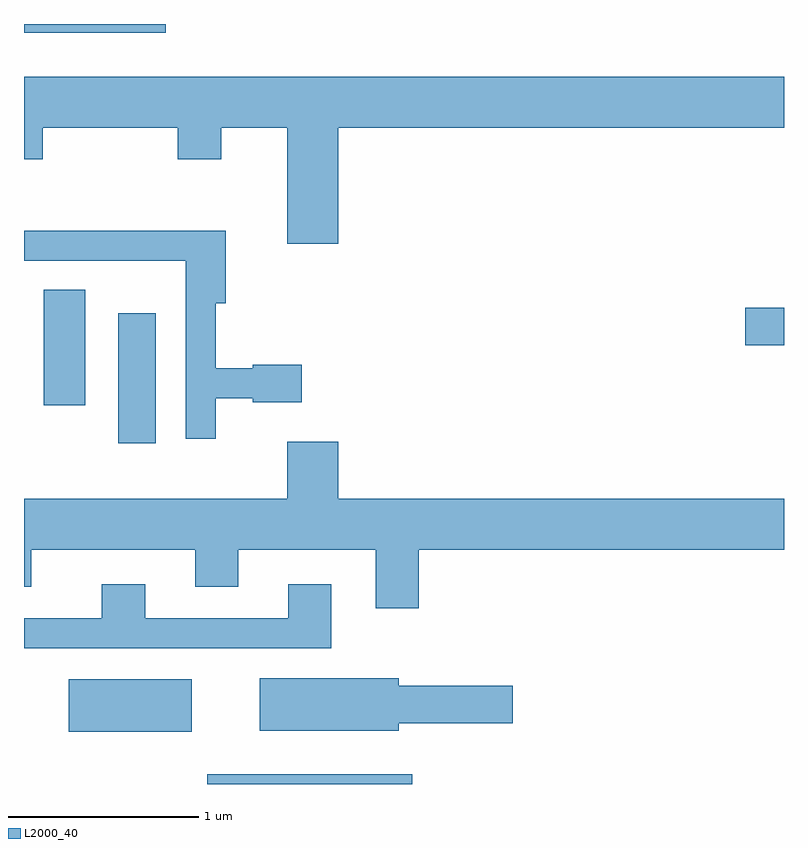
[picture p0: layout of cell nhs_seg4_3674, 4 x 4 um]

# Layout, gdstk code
import gdstk
lib = gdstk.Library(unit=1e-6, precision=1e-09)
def R(c, l, rs):  # rectangles x0, y0, x1, y1
    for r in rs: c.add(gdstk.rectangle(r[:2], r[2:], *l))
def P(c, l, *ps):  # polygons
    for p in ps: c.add(gdstk.Polygon(p, *l))
L2000_40 = (2000, 40)

nhs_seg4_3674 = lib.new_cell('nhs_seg4_3674')
R(nhs_seg4_3674, L2000_40, [(294.576,1257.982,295.654,1258.034), (293.846,1258.256,294.494,1258.534), (294.106,1259.776,294.304,1260.459), (293.716,1259.976,293.934,1260.584), (297.406,1260.291,297.611,1260.489), (293.611,1261.936,294.358,1261.982)])
P(nhs_seg4_3674, L2000_40, [(295.264,1261.436),(297.611,1261.436),(297.611,1261.704),(293.611,1261.704),(293.611,1261.271),(293.709,1261.271),(293.709,1261.436),(294.421,1261.436),(294.421,1261.271),(294.649,1261.271),(294.649,1261.436),(294.996,1261.436),(294.996,1260.826),(295.264,1260.826)],
  [(294.619,1260.011),(294.816,1260.011),(294.816,1259.991),(295.074,1259.991),(295.074,1260.189),(294.816,1260.189),(294.816,1260.169),(294.619,1260.169),(294.619,1260.511),(294.674,1260.511),(294.674,1260.894),(293.611,1260.894),(293.611,1260.736),(294.461,1260.736),(294.461,1259.798),(294.619,1259.798)],
  [(295.689,1259.216),(297.611,1259.216),(297.611,1259.484),(295.264,1259.484),(295.264,1259.784),(294.996,1259.784),(294.996,1259.484),(293.611,1259.484),(293.611,1259.021),(293.649,1259.021),(293.649,1259.216),(294.511,1259.216),(294.511,1259.021),(294.739,1259.021),(294.739,1259.216),(295.461,1259.216),(295.461,1258.906),(295.689,1258.906)],
  [(295.229,1259.034),(295.001,1259.034),(295.001,1258.854),(294.249,1258.854),(294.249,1259.034),(294.021,1259.034),(294.021,1258.854),(293.611,1258.854),(293.611,1258.696),(295.229,1258.696)],
  [(295.584,1258.301),(296.184,1258.301),(296.184,1258.499),(295.584,1258.499),(295.584,1258.539),(294.851,1258.539),(294.851,1258.261),(295.584,1258.261)])

lib.write_gds('nhs_seg4_3674.gds')
